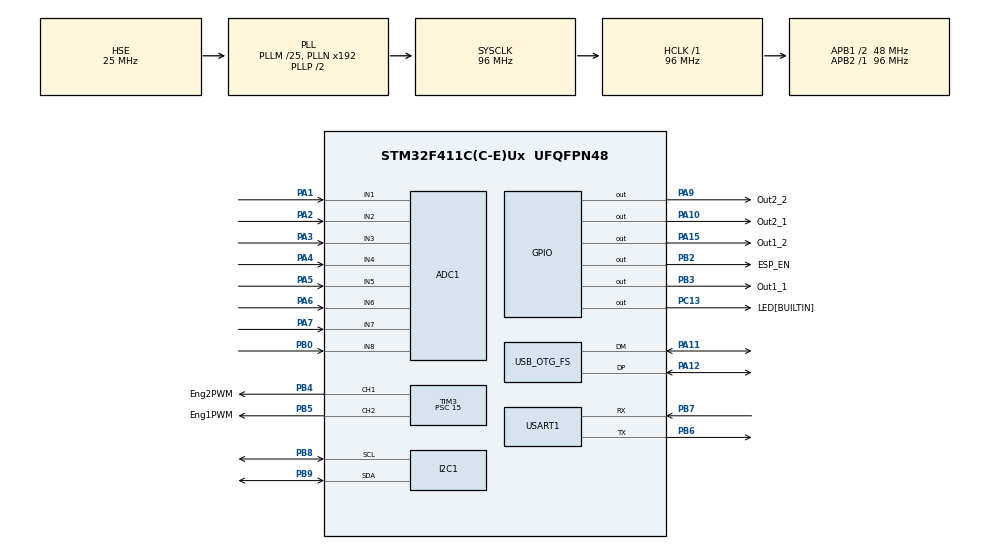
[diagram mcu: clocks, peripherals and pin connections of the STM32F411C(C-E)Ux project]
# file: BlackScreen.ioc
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ADC1.Channel-0\#ChannelRegularConversion=ADC_CHANNEL_1
ADC1.Channel-1\#ChannelRegularConversion=ADC_CHANNEL_2
ADC1.Channel-2\#ChannelRegularConversion=ADC_CHANNEL_3
ADC1.Channel-3\#ChannelRegularConversion=ADC_CHANNEL_4
ADC1.Channel-4\#ChannelRegularConversion=ADC_CHANNEL_5
ADC1.Channel-5\#ChannelRegularConversion=ADC_CHANNEL_6
ADC1.Channel-6\#ChannelRegularConversion=ADC_CHANNEL_7
ADC1.Channel-7\#ChannelRegularConversion=ADC_CHANNEL_8
ADC1.NbrOfConversion=8
ADC1.NbrOfConversionFlag=1
ADC1.Rank-0\#ChannelRegularConversion=1
ADC1.Rank-1\#ChannelRegularConversion=2
ADC1.Rank-2\#ChannelRegularConversion=3
ADC1.Rank-3\#ChannelRegularConversion=4
ADC1.Rank-4\#ChannelRegularConversion=5
ADC1.Rank-5\#ChannelRegularConversion=6
ADC1.Rank-6\#ChannelRegularConversion=7
ADC1.Rank-7\#ChannelRegularConversion=8
ADC1.SamplingTime-0\#ChannelRegularConversion=ADC_SAMPLETIME_56CYCLES
ADC1.SamplingTime-1\#ChannelRegularConversion=ADC_SAMPLETIME_56CYCLES
ADC1.SamplingTime-2\#ChannelRegularConversion=ADC_SAMPLETIME_56CYCLES
ADC1.SamplingTime-3\#ChannelRegularConversion=ADC_SAMPLETIME_56CYCLES
ADC1.SamplingTime-4\#ChannelRegularConversion=ADC_SAMPLETIME_56CYCLES
ADC1.SamplingTime-5\#ChannelRegularConversion=ADC_SAMPLETIME_56CYCLES
ADC1.SamplingTime-6\#ChannelRegularConversion=ADC_SAMPLETIME_56CYCLES
ADC1.SamplingTime-7\#ChannelRegularConversion=ADC_SAMPLETIME_56CYCLES
ADC1.master=1
Dma.ADC1.2.Direction=DMA_PERIPH_TO_MEMORY
Dma.ADC1.2.FIFOMode=DMA_FIFOMODE_DISABLE
Dma.ADC1.2.Instance=DMA2_Stream0
Dma.ADC1.2.MemDataAlignment=DMA_MDATAALIGN_HALFWORD
Dma.ADC1.2.MemInc=DMA_MINC_ENABLE
Dma.ADC1.2.Mode=DMA_NORMAL
Dma.ADC1.2.PeriphDataAlignment=DMA_PDATAALIGN_HALFWORD
Dma.ADC1.2.PeriphInc=DMA_PINC_DISABLE
Dma.ADC1.2.Priority=DMA_PRIORITY_LOW
Dma.I2C1_RX.1.Direction=DMA_PERIPH_TO_MEMORY
Dma.I2C1_RX.1.FIFOMode=DMA_FIFOMODE_DISABLE
Dma.I2C1_RX.1.Instance=DMA1_Stream0
Dma.I2C1_RX.1.MemDataAlignment=DMA_MDATAALIGN_BYTE
Dma.I2C1_RX.1.MemInc=DMA_MINC_ENABLE
Dma.I2C1_RX.1.Mode=DMA_NORMAL
Dma.I2C1_RX.1.PeriphDataAlignment=DMA_PDATAALIGN_BYTE
Dma.I2C1_RX.1.PeriphInc=DMA_PINC_DISABLE
Dma.I2C1_RX.1.Priority=DMA_PRIORITY_LOW
Dma.I2C1_TX.0.Direction=DMA_MEMORY_TO_PERIPH
Dma.I2C1_TX.0.FIFOMode=DMA_FIFOMODE_DISABLE
Dma.I2C1_TX.0.Instance=DMA1_Stream1
Dma.I2C1_TX.0.MemDataAlignment=DMA_MDATAALIGN_BYTE
Dma.I2C1_TX.0.MemInc=DMA_MINC_ENABLE
Dma.I2C1_TX.0.Mode=DMA_NORMAL
Dma.I2C1_TX.0.PeriphDataAlignment=DMA_PDATAALIGN_BYTE
Dma.I2C1_TX.0.PeriphInc=DMA_PINC_DISABLE
Dma.I2C1_TX.0.Priority=DMA_PRIORITY_LOW
Dma.Request0=I2C1_TX
Dma.Request1=I2C1_RX
Dma.Request2=ADC1
I2C1.I2C_Mode=I2C_Fast
Mcu.Family=STM32F4
Mcu.Name=STM32F411C(C-E)Ux
Mcu.Package=UFQFPN48
NVIC.ADC_IRQn=true\:0\:0\:false\:false\:true\:true\:true\:true
NVIC.DMA1_Stream0_IRQn=true\:0\:0\:false\:false\:true\:false\:true\:true
NVIC.DMA1_Stream1_IRQn=true\:0\:0\:false\:false\:true\:false\:true\:true
NVIC.DMA2_Stream0_IRQn=true\:0\:0\:false\:false\:true\:false\:true\:true
NVIC.FPU_IRQn=true\:0\:0\:false\:false\:true\:true\:false\:true
NVIC.I2C1_ER_IRQn=true\:0\:0\:false\:false\:true\:true\:true\:true
NVIC.I2C1_EV_IRQn=true\:0\:0\:false\:false\:true\:true\:true\:true
NVIC.OTG_FS_IRQn=true\:0\:0\:false\:false\:true\:false\:true\:true
NVIC.PriorityGroup=NVIC_PRIORITYGROUP_4
NVIC.TIM1_BRK_TIM9_IRQn=true\:0\:0\:false\:false\:true\:true\:true\:true
NVIC.TIM1_TRG_COM_TIM11_IRQn=true\:0\:0\:false\:false\:true\:true\:true\:true
NVIC.TIM1_UP_TIM10_IRQn=true\:0\:0\:false\:false\:true\:true\:true\:true
NVIC.TIM3_IRQn=true\:0\:0\:false\:false\:true\:true\:true\:true
NVIC.USART1_IRQn=true\:0\:0\:false\:false\:true\:true\:true\:true
PA1.Signal=ADCx_IN1
PA10.GPIO_Label=Out2_1
PA10.Signal=GPIO_Output
PA11.Mode=Device_Only
PA11.Signal=USB_OTG_FS_DM
PA12.Mode=Device_Only
PA12.Signal=USB_OTG_FS_DP
PA13.Mode=Serial_Wire
PA13.Signal=SYS_JTMS-SWDIO
PA14.Mode=Serial_Wire
PA14.Signal=SYS_JTCK-SWCLK
PA15.GPIO_Label=Out1_2
PA15.Signal=GPIO_Output
PA2.Signal=ADCx_IN2
PA3.Signal=ADCx_IN3
PA4.Signal=ADCx_IN4
PA5.Signal=ADCx_IN5
PA6.Signal=ADCx_IN6
PA7.Signal=ADCx_IN7
PA9.GPIO_Label=Out2_2
PA9.Signal=GPIO_Output
PB0.Signal=ADCx_IN8
PB2.GPIO_Label=ESP_EN
PB2.Signal=GPIO_Output
PB3.GPIO_Label=Out1_1
PB3.Signal=GPIO_Output
PB4.GPIO_Label=Eng2PWM
PB4.Signal=S_TIM3_CH1
PB5.GPIO_Label=Eng1PWM
PB5.Signal=S_TIM3_CH2
PB6.Mode=Asynchronous
PB6.Signal=USART1_TX
PB7.Mode=Asynchronous
PB7.Signal=USART1_RX
PB8.Mode=I2C
PB8.Signal=I2C1_SCL
PB9.Mode=I2C
PB9.Signal=I2C1_SDA
PC13-ANTI_TAMP.GPIO_Label=LED[BUILTIN]
PC13-ANTI_TAMP.Signal=GPIO_Output
PC14-OSC32_IN.Mode=LSE-External-Oscillator
PC14-OSC32_IN.Signal=RCC_OSC32_IN
PC15-OSC32_OUT.Mode=LSE-External-Oscillator
PC15-OSC32_OUT.Signal=RCC_OSC32_OUT
PH0\ -\ OSC_IN.Mode=HSE-External-Oscillator
PH0\ -\ OSC_IN.Signal=RCC_OSC_IN
PH1\ -\ OSC_OUT.Mode=HSE-External-Oscillator
PH1\ -\ OSC_OUT.Signal=RCC_OSC_OUT
ProjectManager.HeapSize=0x200
ProjectManager.StackSize=0x400
ProjectManager.TargetToolchain=STM32CubeIDE
RCC.48MHZClocksFreq_Value=48000000
RCC.AHBFreq_Value=96000000
RCC.APB1CLKDivider=RCC_HCLK_DIV2
RCC.APB1Freq_Value=48000000
RCC.APB1TimFreq_Value=96000000
RCC.APB2Freq_Value=96000000
RCC.APB2TimFreq_Value=96000000
RCC.CortexFreq_Value=96000000
RCC.HCLKFreq_Value=96000000
RCC.HSE_VALUE=25000000
RCC.HSI_VALUE=16000000
RCC.PLLM=25
RCC.SYSCLKFreq_VALUE=96000000
RCC.SYSCLKSource=RCC_SYSCLKSOURCE_PLLCLK
RCC.VCOOutputFreq_Value=192000000
SH.ADCx_IN1.0=ADC1_IN1,IN1
SH.ADCx_IN2.0=ADC1_IN2,IN2
SH.ADCx_IN3.0=ADC1_IN3,IN3
SH.ADCx_IN4.0=ADC1_IN4,IN4
SH.ADCx_IN5.0=ADC1_IN5,IN5
SH.ADCx_IN6.0=ADC1_IN6,IN6
SH.ADCx_IN7.0=ADC1_IN7,IN7
SH.ADCx_IN8.0=ADC1_IN8,IN8
SH.S_TIM3_CH1.0=TIM3_CH1,PWM Generation1 CH1
SH.S_TIM3_CH2.0=TIM3_CH2,PWM Generation2 CH2
TIM10.Period=9999
TIM10.Prescaler=47
TIM11.Period=9999
TIM11.Prescaler=95
TIM3.Channel-PWM\ Generation1\ CH1=TIM_CHANNEL_1
TIM3.Channel-PWM\ Generation2\ CH2=TIM_CHANNEL_2
TIM3.OCPolarity_1=TIM_OCPOLARITY_HIGH
TIM3.OCPolarity_2=TIM_OCPOLARITY_HIGH
TIM3.Period=59999
TIM3.Prescaler=15
TIM9.Period=23999
USART1.VirtualMode=VM_ASYNC
USB_DEVICE.APP_RX_DATA_SIZE=512
USB_DEVICE.APP_TX_DATA_SIZE=512
USB_DEVICE.CLASS_NAME_FS=CDC
USB_DEVICE.VirtualMode=Cdc
USB_DEVICE.VirtualModeFS=Cdc_FS
USB_OTG_FS.VirtualMode=Device_Only
VP_TIM10_VS_ClockSourceINT.Mode=Enable_Timer
VP_TIM11_VS_ClockSourceINT.Mode=Enable_Timer
VP_TIM3_VS_ClockSourceINT.Mode=Internal
VP_TIM9_VS_ClockSourceINT.Mode=Internal
VP_USB_DEVICE_VS_USB_DEVICE_CDC_FS.Mode=CDC_FS
board=custom

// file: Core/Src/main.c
/* USER CODE BEGIN Header */
/**
  ******************************************************************************
  * @file           : main.c
  * @brief          : Main program body
  ******************************************************************************
  * @attention
  *
  * Copyright (c) 2025 STMicroelectronics.
  * All rights reserved.
  *
  * This software is licensed under terms that can be found in the LICENSE file
  * in the root directory of this software component.
  * If no LICENSE file comes with this software, it is provided AS-IS.
  *
  ******************************************************************************
  */
/* USER CODE END Header */
#include "main.h"
#include "usb_device.h"

/* USER CODE BEGIN Includes */
#include "UnerProtocol.h"
#include "engines.h"
#include "ssd1306_oled.h"
#include "fonts.h"
#include "Logo.h"
#include "mpu6050.h"
#include "math.h"
#include "Utilities.h"
#include "ADC.h"
#include "ESP01.h"

/* USER CODE END Includes */

/* USER CODE BEGIN PD */

#define NUM_CHANNELS 8
#define RINGBUFFER 	 256
#define SISINIT  	 myFlags.individualFlags.bit0
#define IS10MS 	 	 myFlags.individualFlags.bit1
#define NEWADCVALUES myFlags.individualFlags.bit2

/* USER CODE END PD */

ADC_HandleTypeDef hadc1;
DMA_HandleTypeDef hdma_adc1;

I2C_HandleTypeDef hi2c1;
DMA_HandleTypeDef hdma_i2c1_tx;
DMA_HandleTypeDef hdma_i2c1_rx;

TIM_HandleTypeDef htim3;
TIM_HandleTypeDef htim9;
TIM_HandleTypeDef htim10;
TIM_HandleTypeDef htim11;

UART_HandleTypeDef huart1;

/* USER CODE BEGIN PV */
_sDato datosComSerie;
_bFlags myFlags;
_sEng motorL,motorR;
MPU6050_t mpuValues;
_work casts1;
s_ADC adcValues;
char display[20];

//const uint8_t Index_to_Bar[] = {
//    21, 22, 23, 24, 25, 26, 27, 28, 29,
//    30, 31, 32, 33, 34, 35, 36, 37, 38, 39,
//    40, 41, 42, 43, 44, 45, 46, 47, 48, 49,
//    50, 51, 52, 53, 54, 55, 56, 57, 58, 59
//};
//
//const uint16_t ADC_to_Index[] = {
//  105,  210,  315,  420,  525,  630,  735,  840,  945,
//  1050, 1155, 1260, 1365, 1470, 1575, 1680, 1785, 1890, 1995,
//  2100, 2205, 2310, 2415, 2520, 2625, 2730, 2835, 2940, 3045,
//  3150, 3255, 3360, 3465, 3570, 3675, 3780, 3885, 3990, 4095
//};
struct ESP_DATA{
	_sESP01Handle Config;
	char *ssid;
	char *password;
	char *IP;
	_sDato data;
	uint8_t AT_Rx_data;
	uint8_t bytesToTx;
}ESP;
/* USER CODE END PV */

void SystemClock_Config(void);
static void MX_GPIO_Init(void);
static void MX_DMA_Init(void);
static void MX_TIM3_Init(void);
static void MX_TIM11_Init(void);
static void MX_ADC1_Init(void);
static void MX_I2C1_Init(void);
static void MX_TIM10_Init(void);
static void MX_TIM9_Init(void);
static void MX_USART1_UART_Init(void);
/* USER CODE BEGIN PFP */
// Funciones chota ESP
int ESP01_UART_Transmit(uint8_t val);
void ESP01_Data_Recived(uint8_t value);
void onESP01ChangeState(_eESP01STATUS esp01State);
void onESP01Debug(const char *dbgStr);
void setESP01_CHPD(uint8_t val);
void writeOn_ESP(_sDato *data);

uint8_t CDC_Transmit_FS(uint8_t *buf, uint16_t leng);  // Envia una letra
void CDC_AttachRxData(void (*ptrRxAttach)(uint8_t *buf, uint16_t len));
void HAL_ADC_ConvCpltCallback(ADC_HandleTypeDef* hadc);
void HAL_TIM_PeriodElapsedCallback(TIM_HandleTypeDef *htim);
void task10ms();
void Engines_task();
void SSD1306_Task();
void Get_ADCValues(uint8_t *buf);
uint8_t I2C_RBlocking(uint16_t DevAddress, uint16_t MemAddress, uint16_t MemAddSize, uint8_t *pData, uint16_t Size);
uint8_t I2C_DMA_Recive(uint16_t Dev_Address,uint16_t reg,uint8_t *p_Data, uint16_t _Size);
uint8_t I2C_DMA_Transmit(uint16_t Dev_Address,uint16_t reg,uint8_t *p_Data, uint16_t _Size);
uint8_t I2C_1_Abstract_Master_Transmit_Blocking(uint16_t Dev_Address, uint8_t *p_Data, uint16_t _Size, uint32_t _Timeout);
uint8_t I2C_1_Abstract_Mem_Write_Blocking(uint16_t Dev_Address, uint8_t Mem_Adress, uint8_t Mem_AddSize, uint8_t *p_Data, uint16_t _Size, uint32_t _Timeout);
void I2C_1_Abstract_Mem_Read_Blocking(uint16_t Dev_Address, uint8_t Mem_Adress, uint8_t Mem_AddSize, uint8_t *p_Data, uint16_t _Size, uint32_t _Timeout);
/* USER CODE END PFP */

/* USER CODE BEGIN 0 */
void HAL_ADC_ConvCpltCallback(ADC_HandleTypeDef* hadc){
	adcValues.newValue=1;
}

void HAL_TIM_PeriodElapsedCallback(TIM_HandleTypeDef *htim){
	if (htim->Instance == TIM11) {
		IS10MS = TRUE;
	}

//	if (htim->Instance == TIM10) {
//		MPU6050_Read_All(&mpuValues);
//		mpuValues.DMAREADY=1;
//		SSD1306_DMAREADY(0);
//	}
	if(htim->Instance == TIM9){
		HAL_ADC_Start_DMA(&hadc1, (uint32_t*)&adcValues.raw_Data, 8);
	}
}

//void HAL_I2C_MemTxCpltCallback(I2C_HandleTypeDef *hi2c){
//	if(hi2c->Devaddress==SSD1306_I2C_ADDR){
//		SSD1306_DMAREADY(1);
//	}
//}
//
//void HAL_I2C_MemRxCpltCallback(I2C_HandleTypeDef *hi2c){
//	if(hi2c->Devaddress==MPU6050_ADDR){
//
//	    mpuValues.MAF.rawData[0] = (int16_t) (mpuValues.Rec_Data[0] << 8 | mpuValues.Rec_Data[1]);
//	    mpuValues.MAF.rawData[1] = (int16_t) (mpuValues.Rec_Data[2] << 8 | mpuValues.Rec_Data[3]);
//	    mpuValues.MAF.rawData[2] = (int16_t) (mpuValues.Rec_Data[4] << 8 | mpuValues.Rec_Data[5]);
//	    mpuValues.MAF.rawData[3] = (int16_t) (mpuValues.Rec_Data[8] << 8 | mpuValues.Rec_Data[9]);
//	    mpuValues.MAF.rawData[4] = (int16_t) (mpuValues.Rec_Data[10]<< 8 | mpuValues.Rec_Data[11]);
//	    mpuValues.MAF.rawData[5] = (int16_t) (mpuValues.Rec_Data[12]<< 8 | mpuValues.Rec_Data[13]);
//
//		mpuValues.MAF.isOn=1;
//		SSD1306_DMAREADY(1);
//	}
//}

/* ESP FUNCTION */
void onESP01ChangeState(_eESP01STATUS esp01State) {
   switch (esp01State) {
        case ESP01_NOT_INIT:
            sprintf((char*)datosComSerie.auxBuffer, "ESP01: No inicializado");
            break;
        case ESP01_WIFI_DISCONNECTED:
            sprintf((char*)datosComSerie.auxBuffer, "ESP01: WiFi desconectado");
            break;
        case ESP01_WIFI_NOT_SETED:
            sprintf((char*)datosComSerie.auxBuffer, "ESP01: WiFi no configurado");
            break;
        case ESP01_WIFI_CONNECTING_WIFI:
            sprintf((char*)datosComSerie.auxBuffer, "ESP01: Conectando a WiFi...");
            break;
        case ESP01_WIFI_CONNECTED:
            sprintf((char*)datosComSerie.auxBuffer, "ESP01: WiFi conectado");
            break;
        case ESP01_WIFI_NEW_IP:
            sprintf((char*)datosComSerie.auxBuffer, "ESP01: Nueva IP asignada");
            break;
        case ESP01_UDPTCP_DISCONNECTED:
            sprintf((char*)datosComSerie.auxBuffer, "ESP01: UDP/TCP desconectado");
            break;
        case ESP01_UDPTCP_CONNECTING:
            sprintf((char*)datosComSerie.auxBuffer, "ESP01: Conectando UDP/TCP...");
            break;
        case ESP01_UDPTCP_CONNECTED:
            sprintf((char*)datosComSerie.auxBuffer, "ESP01: UDP/TCP conectado");
            break;
        case ESP01_SEND_BUSY:
            sprintf((char*)datosComSerie.auxBuffer, "ESP01: Enviando datos...");
            break;
        case ESP01_SEND_READY:
            sprintf((char*)datosComSerie.auxBuffer, "ESP01: Listo para enviar");
            break;
        case ESP01_SEND_OK:
            sprintf((char*)datosComSerie.auxBuffer, "ESP01: Envío OK");
            break;
        case ESP01_SEND_ERROR:
            sprintf((char*)datosComSerie.auxBuffer, "ESP01: Error al enviar");
            break;
        default:
            sprintf((char*)datosComSerie.auxBuffer, "ESP01: Estado desconocido");
            break;
    }

    // Cast explícito también aplicado aquí
    UP_sendInfo(TEXT, datosComSerie.auxBuffer,strlen((char*)datosComSerie.auxBuffer));
}

void onESP01Debug(const char *dbgStr) {
    UP_sendInfo(TEXT, (uint8_t *)dbgStr, strlen(dbgStr));
}

void setESP01_CHPD(uint8_t val){
	HAL_GPIO_WritePin(ESP_EN_GPIO_Port, ESP_EN_Pin, val);
}

void HAL_UART_RxCpltCallback(UART_HandleTypeDef *huart){
	if(huart->Instance == USART1){
		ESP01_WriteRX(ESP.AT_Rx_data);
		HAL_UART_Receive_IT(&huart1, &ESP.AT_Rx_data, 1);

	}
}

int ESP01_UART_Transmit(uint8_t val){
	if(__HAL_UART_GET_FLAG(&huart1, UART_FLAG_TXE)){
		USART1->DR = val;
		return 1;
	}
	return 0;
}

void ESP01_Data_Recived(uint8_t value){
	ESP.data.bufferRx[ESP.data.indexWriteRx++] = value;
}

void writeOn_ESP(_sDato *data){
	//comm_sendCMD(&USB.data, USERTEXT, (uint8_t *)"writeONESP", 10);
	if(data->indexWriteTx > data->indexReadTx){
		ESP.bytesToTx = data->indexWriteTx - data->indexReadTx;
	}else{
		ESP.bytesToTx = 256 - data->indexReadTx;
	}
	if(ESP01_Send(data->bufferTx,  data->indexReadTx,  ESP.bytesToTx,  256) == ESP01_SEND_READY){
		data->indexReadTx += ESP.bytesToTx;
		//comm_sendCMD(&USB.data, USERTEXT, (uint8_t*)"dice mandar", 11);
	}
	/*switch(ESP01_Send(data->Tx.buffer,  data->Tx.read,  ESP.bytesToTx,  RINGBUFFLENGTH)){
	case ESP01_NOT_INIT:
		comm_sendCMD(&USB.data, USERTEXT, (uint8_t*)"noinit", 6);
		break;
	case ESP01_UDPTCP_DISCONNECTED:
		comm_sendCMD(&USB.data, USERTEXT, (uint8_t*)"discon", 6);
		break;
	case ESP01_SEND_READY:
		data->Tx.read += ESP.bytesToTx;
		break;
	case ESP01_SEND_BUSY:
		break;
	}*/
}

//void SSD1306_Task(){
//
//	uint32_t guiaBarras;
//
//	if(SISINIT){
//		SSD1306_DrawBitmap(0, 0, MainScreen, 128, 64,WHITE);
//
//		sprintf(display, "X:%c%d",(mpuValues.Accel.X_filtered >= 0) ? '+' : '-',abs(mpuValues.Accel.X_filtered));
//		SSD1306_GotoXY(43, 20);
//		SSD1306_Puts(display, &Font_7x10, BLACK);
//		sprintf(display, "Y:%c%d",(mpuValues.Accel.Y_filtered >= 0) ? '+' : '-',abs(mpuValues.Accel.Y_filtered));
//		SSD1306_GotoXY(43, 35);
//		SSD1306_Puts(display, &Font_7x10, BLACK);
//		sprintf(display, "Z:%c%d",(mpuValues.Accel.Z_filtered >= 0) ? '+' : '-',abs(mpuValues.Accel.Z_filtered));
//		SSD1306_GotoXY(43, 50);
//		SSD1306_Puts(display, &Font_7x10, BLACK);
//		sprintf(display, "X:%c%d ", (mpuValues.Gyro.X_filtered >= 0) ? '+' : '-', abs(mpuValues.Gyro.X_filtered));
//		SSD1306_GotoXY(90, 20);
//		SSD1306_Puts(display, &Font_7x10, BLACK);
//		sprintf(display, "Y:%c%d ", (mpuValues.Gyro.Y_filtered >= 0) ? '+' : '-', abs(mpuValues.Gyro.Y_filtered));
//		SSD1306_GotoXY(90, 35);
//		SSD1306_Puts(display, &Font_7x10, BLACK);
//		sprintf(display, "Z:%c%d ", (mpuValues.Gyro.Z_filtered) ? '+' : '-', abs(mpuValues.Gyro.Z_filtered));
//		SSD1306_GotoXY(90, 50);
//		SSD1306_Puts(display, &Font_7x10, BLACK);
//		for(uint8_t i = 0; i < 9; i++){
//			for(uint8_t j = 0; j < 39; j++){
//				if(adcValues.raw_Data[i] <= ADC_to_Index[j]){
//					guiaBarras = 5 + i * 4;
//					SSD1306_DrawLine(guiaBarras, 59,  guiaBarras, Index_to_Bar[j], BLACK);
//					SSD1306_DrawLine(guiaBarras+1, 59,  guiaBarras+1, Index_to_Bar[j], BLACK);
//					break;
//				}
//			}
//		}
//	}
//}

void task10ms(){

	static uint8_t ticker=0;
//	uint16_t buffaux[8];

	ESP01_Timeout10ms();

	if(ticker%10==0){
		HAL_GPIO_TogglePin(LED_GPIO_Port, LED_Pin);
//		UP_sendInfo(MPUDATA,(uint8_t*)mpuValues.MAF.filtredData, 13);
//
//		for(uint8_t i=0;i<7;i++)
//			buffaux[i]=adcValues.raw_Data[i];
//
//		UP_sendInfo(ADCVALUES,(uint8_t*)&buffaux, 17);
//
//		SSD1306_Task();
//		SSD1306_RefreshReady();
	}
	if(ticker%100==0){

		UP_sendInfo(TEXT, datosComSerie.auxBuffer, strlen((char*)datosComSerie.auxBuffer));
	}
	if(ticker>250){
//		if(!SISINIT){
//			SSD1306_Clear();
//		}
//		SISINIT=TRUE;
		ticker=0;
	}
	ticker++;
}

void Engines_task(){

	en_HandlerENG(&motorR, ret_eng_Values(0), 0);
	en_HandlerENG(&motorL, ret_eng_Values(1), 0);

	switch(motorL.estado){
		case BRAKE:
			HAL_GPIO_WritePin(Out1_1_GPIO_Port, Out1_1_Pin, 1);
			HAL_GPIO_WritePin(Out1_2_GPIO_Port, Out1_2_Pin, 1);
			break;

		case FRONT:
			HAL_GPIO_WritePin(Out1_1_GPIO_Port, Out1_1_Pin, 1);
			HAL_GPIO_WritePin(Out1_2_GPIO_Port, Out1_2_Pin, 0);
			break;

		case BACK:
			HAL_GPIO_WritePin(Out1_1_GPIO_Port, Out1_1_Pin, 0);
			HAL_GPIO_WritePin(Out1_2_GPIO_Port, Out1_2_Pin, 1);
			break;

		case FREE:
			HAL_GPIO_WritePin(Out1_1_GPIO_Port, Out1_1_Pin, 0);
			HAL_GPIO_WritePin(Out1_2_GPIO_Port, Out1_2_Pin, 0);
			break;
		default:
			break;
	}
	switch(motorR.estado){
		case BRAKE:
			HAL_GPIO_WritePin(Out2_1_GPIO_Port, Out2_1_Pin, 1);
			HAL_GPIO_WritePin(Out2_2_GPIO_Port, Out2_2_Pin, 1);
			break;

		case FRONT:
			HAL_GPIO_WritePin(Out2_1_GPIO_Port, Out2_1_Pin, 1);
			HAL_GPIO_WritePin(Out2_2_GPIO_Port, Out2_2_Pin, 0);
			break;

		case BACK:
			HAL_GPIO_WritePin(Out2_1_GPIO_Port, Out2_1_Pin, 0);
			HAL_GPIO_WritePin(Out2_2_GPIO_Port, Out2_2_Pin, 1);
			break;

		case FREE:
			HAL_GPIO_WritePin(Out2_1_GPIO_Port, Out2_1_Pin, 0);
			HAL_GPIO_WritePin(Out2_2_GPIO_Port, Out2_2_Pin, 0);
			break;
		default:
			break;
		}

		__HAL_TIM_SET_COMPARE(&htim3, TIM_CHANNEL_1, motorL.speed);
		__HAL_TIM_SET_COMPARE(&htim3, TIM_CHANNEL_2, motorR.speed);
}

/* USER CODE END 0 */

int main(void)
{

  /* MCU Configuration--------------------------------------------------------*/

  /* Reset of all peripherals, Initializes the Flash interface and the Systick. */
  HAL_Init();

  /* Configure the system clock */
  SystemClock_Config();

  /* Initialize all configured peripherals */
  MX_GPIO_Init();
  MX_DMA_Init();
  MX_USB_DEVICE_Init();
  MX_TIM3_Init();
  MX_TIM11_Init();
  MX_ADC1_Init();
  MX_I2C1_Init();
  MX_TIM10_Init();
  MX_TIM9_Init();
  MX_USART1_UART_Init();
  /* USER CODE BEGIN 2 */
  HAL_TIM_Base_Start_IT(&htim3);
  HAL_TIM_Base_Start_IT(&htim11);
  HAL_TIM_Base_Start_IT(&htim10);
  HAL_TIM_Base_Start_IT(&htim9);

  HAL_TIM_PWM_Start(&htim3, TIM_CHANNEL_2);
  HAL_TIM_PWM_Start(&htim3, TIM_CHANNEL_1);

//  Display_Set_I2C_Master_Transmit(&I2C_DMA_Transmit, &I2C_1_Abstract_Master_Transmit_Blocking);
//  MPU6050_I2C_Blocking(&I2C_RBlocking,&I2C_1_Abstract_Mem_Write_Blocking);
//  MPU6050_NonBlocking_DMA(&I2C_DMA_Transmit,&I2C_DMA_Recive);
//  SSD1306_Init();
//  MPU6050_Init(&mpuValues);
  CDC_AttachRxData(&UP_datafromUSB);
  myFlags.allFlags=0;
  UP_initprotocol(&datosComSerie,(uint8_t)RINGBUFFER);
  en_InitENG(&motorL, (uint16_t)htim3.Instance->ARR);
  en_InitENG(&motorR, (uint16_t)htim3.Instance->ARR);
  UP_attachData(&Get_ADCValues);

//	ESP.password = "fcalconcordia.06-2019";
//	ESP.ssid = "FCAL";
//	ESP.IP = "172.23.206.41";
//	UP_initprotocol(&ESP.data, 255);
//	ESP.data.isESP01 = 1;
//	HAL_UART_Receive_IT(&huart1, &ESP.AT_Rx_data, 1);
//	ESP.Config.DoCHPD = setESP01_CHPD;
//	ESP.Config.WriteUSARTByte = ESP01_UART_Transmit;
//	ESP.Config.WriteByteToBufRX = ESP01_Data_Recived;
//
//	ESP01_Init(&ESP.Config);
//	if(ESP01_StateWIFI() == ESP01_WIFI_DISCONNECTED){
//	  ESP01_SetWIFI(ESP.ssid, ESP.password);
//	}
//
//	ESP01_StartUDP("172.23.206.41", 25555, 11211);
//	ESP01_AttachChangeState(&onESP01ChangeState);
//    ESP01_AttachDebugStr(&onESP01Debug);

//  SSD1306_DrawBitmap(0, 0, LogoMicros, 128, 64, WHITE);
////  MPU6050_Calibrate(&mpuValues);
  /* USER CODE END 2 */

  /* Infinite loop */
  while (1)
  {

    /* USER CODE BEGIN 3 */
	  if(IS10MS){
		 task10ms();
		 IS10MS=FALSE;
		 Engines_task();
	  }
//	MPU6050_MAF(&mpuValues);
	UP_comunicationsTask(&datosComSerie);
	ADC_Filter(&adcValues);
//	SSD1306_UpdateScreen();
  }
  /* USER CODE END 3 */
}

void SystemClock_Config(void)
{
  RCC_OscInitTypeDef RCC_OscInitStruct = {0};
  RCC_ClkInitTypeDef RCC_ClkInitStruct = {0};

  /** Configure the main internal regulator output voltage
  */
  __HAL_RCC_PWR_CLK_ENABLE();
  __HAL_PWR_VOLTAGESCALING_CONFIG(PWR_REGULATOR_VOLTAGE_SCALE1);

  /** Initializes the RCC Oscillators according to the specified parameters
  * in the RCC_OscInitTypeDef structure.
  */
  RCC_OscInitStruct.OscillatorType = RCC_OSCILLATORTYPE_HSE;
  RCC_OscInitStruct.HSEState = RCC_HSE_ON;
  RCC_OscInitStruct.PLL.PLLState = RCC_PLL_ON;
  RCC_OscInitStruct.PLL.PLLSource = RCC_PLLSOURCE_HSE;
  RCC_OscInitStruct.PLL.PLLM = 25;
  RCC_OscInitStruct.PLL.PLLN = 192;
  RCC_OscInitStruct.PLL.PLLP = RCC_PLLP_DIV2;
  RCC_OscInitStruct.PLL.PLLQ = 4;
  if (HAL_RCC_OscConfig(&RCC_OscInitStruct) != HAL_OK)
  {
    Error_Handler();
  }

  /** Initializes the CPU, AHB and APB buses clocks
  */
  RCC_ClkInitStruct.ClockType = RCC_CLOCKTYPE_HCLK|RCC_CLOCKTYPE_SYSCLK
                              |RCC_CLOCKTYPE_PCLK1|RCC_CLOCKTYPE_PCLK2;
  RCC_ClkInitStruct.SYSCLKSource = RCC_SYSCLKSOURCE_PLLCLK;
  RCC_ClkInitStruct.AHBCLKDivider = RCC_SYSCLK_DIV1;
  RCC_ClkInitStruct.APB1CLKDivider = RCC_HCLK_DIV2;
  RCC_ClkInitStruct.APB2CLKDivider = RCC_HCLK_DIV1;

  if (HAL_RCC_ClockConfig(&RCC_ClkInitStruct, FLASH_LATENCY_3) != HAL_OK)
  {
    Error_Handler();
  }
}

static void MX_ADC1_Init(void)
{

  ADC_ChannelConfTypeDef sConfig = {0};

  /** Configure the global features of the ADC (Clock, Resolution, Data Alignment and number of conversion)
  */
  hadc1.Instance = ADC1;
  hadc1.Init.ClockPrescaler = ADC_CLOCK_SYNC_PCLK_DIV4;
  hadc1.Init.Resolution = ADC_RESOLUTION_12B;
  hadc1.Init.ScanConvMode = ENABLE;
  hadc1.Init.ContinuousConvMode = DISABLE;
  hadc1.Init.DiscontinuousConvMode = DISABLE;
  hadc1.Init.ExternalTrigConvEdge = ADC_EXTERNALTRIGCONVEDGE_NONE;
  hadc1.Init.ExternalTrigConv = ADC_SOFTWARE_START;
  hadc1.Init.DataAlign = ADC_DATAALIGN_RIGHT;
  hadc1.Init.NbrOfConversion = 8;
  hadc1.Init.DMAContinuousRequests = DISABLE;
  hadc1.Init.EOCSelection = ADC_EOC_SINGLE_CONV;
  if (HAL_ADC_Init(&hadc1) != HAL_OK)
  {
    Error_Handler();
  }

  /** Configure for the selected ADC regular channel its corresponding rank in the sequencer and its sample time.
  */
  sConfig.Channel = ADC_CHANNEL_1;
  sConfig.Rank = 1;
  sConfig.SamplingTime = ADC_SAMPLETIME_56CYCLES;
  if (HAL_ADC_ConfigChannel(&hadc1, &sConfig) != HAL_OK)
  {
    Error_Handler();
  }

  /** Configure for the selected ADC regular channel its corresponding rank in the sequencer and its sample time.
  */
  sConfig.Channel = ADC_CHANNEL_2;
  sConfig.Rank = 2;
  if (HAL_ADC_ConfigChannel(&hadc1, &sConfig) != HAL_OK)
  {
    Error_Handler();
  }

  /** Configure for the selected ADC regular channel its corresponding rank in the sequencer and its sample time.
  */
  sConfig.Channel = ADC_CHANNEL_3;
  sConfig.Rank = 3;
  if (HAL_ADC_ConfigChannel(&hadc1, &sConfig) != HAL_OK)
  {
    Error_Handler();
  }

  /** Configure for the selected ADC regular channel its corresponding rank in the sequencer and its sample time.
  */
  sConfig.Channel = ADC_CHANNEL_4;
  sConfig.Rank = 4;
  if (HAL_ADC_ConfigChannel(&hadc1, &sConfig) != HAL_OK)
  {
    Error_Handler();
  }

  /** Configure for the selected ADC regular channel its corresponding rank in the sequencer and its sample time.
  */
  sConfig.Channel = ADC_CHANNEL_5;
  sConfig.Rank = 5;
  if (HAL_ADC_ConfigChannel(&hadc1, &sConfig) != HAL_OK)
  {
    Error_Handler();
  }

  /** Configure for the selected ADC regular channel its corresponding rank in the sequencer and its sample time.
  */
  sConfig.Channel = ADC_CHANNEL_6;
  sConfig.Rank = 6;
  if (HAL_ADC_ConfigChannel(&hadc1, &sConfig) != HAL_OK)
  {
    Error_Handler();
  }

  /** Configure for the selected ADC regular channel its corresponding rank in the sequencer and its sample time.
  */
  sConfig.Channel = ADC_CHANNEL_7;
  sConfig.Rank = 7;
  if (HAL_ADC_ConfigChannel(&hadc1, &sConfig) != HAL_OK)
  {
    Error_Handler();
  }

  /** Configure for the selected ADC regular channel its corresponding rank in the sequencer and its sample time.
  */
  sConfig.Channel = ADC_CHANNEL_8;
  sConfig.Rank = 8;
  if (HAL_ADC_ConfigChannel(&hadc1, &sConfig) != HAL_OK)
  {
    Error_Handler();
  }

}

static void MX_I2C1_Init(void)
{

  hi2c1.Instance = I2C1;
  hi2c1.Init.ClockSpeed = 400000;
  hi2c1.Init.DutyCycle = I2C_DUTYCYCLE_2;
  hi2c1.Init.OwnAddress1 = 0;
  hi2c1.Init.AddressingMode = I2C_ADDRESSINGMODE_7BIT;
  hi2c1.Init.DualAddressMode = I2C_DUALADDRESS_DISABLE;
  hi2c1.Init.OwnAddress2 = 0;
  hi2c1.Init.GeneralCallMode = I2C_GENERALCALL_DISABLE;
  hi2c1.Init.NoStretchMode = I2C_NOSTRETCH_DISABLE;
  if (HAL_I2C_Init(&hi2c1) != HAL_OK)
  {
    Error_Handler();
  }

}

static void MX_TIM3_Init(void)
{

  TIM_ClockConfigTypeDef sClockSourceConfig = {0};
  TIM_MasterConfigTypeDef sMasterConfig = {0};
  TIM_OC_InitTypeDef sConfigOC = {0};

  htim3.Instance = TIM3;
  htim3.Init.Prescaler = 15;
  htim3.Init.CounterMode = TIM_COUNTERMODE_UP;
  htim3.Init.Period = 59999;
  htim3.Init.ClockDivision = TIM_CLOCKDIVISION_DIV1;
  htim3.Init.AutoReloadPreload = TIM_AUTORELOAD_PRELOAD_DISABLE;
  if (HAL_TIM_Base_Init(&htim3) != HAL_OK)
  {
    Error_Handler();
  }
  sClockSourceConfig.ClockSource = TIM_CLOCKSOURCE_INTERNAL;
  if (HAL_TIM_ConfigClockSource(&htim3, &sClockSourceConfig) != HAL_OK)
  {
    Error_Handler();
  }
  if (HAL_TIM_PWM_Init(&htim3) != HAL_OK)
  {
    Error_Handler();
  }
  sMasterConfig.MasterOutputTrigger = TIM_TRGO_RESET;
  sMasterConfig.MasterSlaveMode = TIM_MASTERSLAVEMODE_DISABLE;
  if (HAL_TIMEx_MasterConfigSynchronization(&htim3, &sMasterConfig) != HAL_OK)
  {
    Error_Handler();
  }
  sConfigOC.OCMode = TIM_OCMODE_PWM1;
  sConfigOC.Pulse = 0;
  sConfigOC.OCPolarity = TIM_OCPOLARITY_HIGH;
  sConfigOC.OCFastMode = TIM_OCFAST_DISABLE;
  if (HAL_TIM_PWM_ConfigChannel(&htim3, &sConfigOC, TIM_CHANNEL_1) != HAL_OK)
  {
    Error_Handler();
  }
  if (HAL_TIM_PWM_ConfigChannel(&htim3, &sConfigOC, TIM_CHANNEL_2) != HAL_OK)
  {
    Error_Handler();
  }
  HAL_TIM_MspPostInit(&htim3);

}

static void MX_TIM9_Init(void)
{

  TIM_ClockConfigTypeDef sClockSourceConfig = {0};

  htim9.Instance = TIM9;
  htim9.Init.Prescaler = 0;
  htim9.Init.CounterMode = TIM_COUNTERMODE_UP;
  htim9.Init.Period = 23999;
  htim9.Init.ClockDivision = TIM_CLOCKDIVISION_DIV1;
  htim9.Init.AutoReloadPreload = TIM_AUTORELOAD_PRELOAD_DISABLE;
  if (HAL_TIM_Base_Init(&htim9) != HAL_OK)
  {
    Error_Handler();
  }
  sClockSourceConfig.ClockSource = TIM_CLOCKSOURCE_INTERNAL;
  if (HAL_TIM_ConfigClockSource(&htim9, &sClockSourceConfig) != HAL_OK)
  {
    Error_Handler();
  }

}

static void MX_TIM10_Init(void)
{

  htim10.Instance = TIM10;
  htim10.Init.Prescaler = 47;
  htim10.Init.CounterMode = TIM_COUNTERMODE_UP;
  htim10.Init.Period = 9999;
  htim10.Init.ClockDivision = TIM_CLOCKDIVISION_DIV1;
  htim10.Init.AutoReloadPreload = TIM_AUTORELOAD_PRELOAD_DISABLE;
  if (HAL_TIM_Base_Init(&htim10) != HAL_OK)
  {
    Error_Handler();
  }

}

static void MX_TIM11_Init(void)
{

  htim11.Instance = TIM11;
  htim11.Init.Prescaler = 95;
  htim11.Init.CounterMode = TIM_COUNTERMODE_UP;
  htim11.Init.Period = 9999;
  htim11.Init.ClockDivision = TIM_CLOCKDIVISION_DIV1;
  htim11.Init.AutoReloadPreload = TIM_AUTORELOAD_PRELOAD_DISABLE;
  if (HAL_TIM_Base_Init(&htim11) != HAL_OK)
  {
    Error_Handler();
  }

}

static void MX_USART1_UART_Init(void)
{

  huart1.Instance = USART1;
  huart1.Init.BaudRate = 115200;
  huart1.Init.WordLength = UART_WORDLENGTH_8B;
  huart1.Init.StopBits = UART_STOPBITS_1;
  huart1.Init.Parity = UART_PARITY_NONE;
  huart1.Init.Mode = UART_MODE_TX_RX;
  huart1.Init.HwFlowCtl = UART_HWCONTROL_NONE;
  huart1.Init.OverSampling = UART_OVERSAMPLING_16;
  if (HAL_UART_Init(&huart1) != HAL_OK)
  {
    Error_Handler();
  }

}

static void MX_DMA_Init(void)
{

  /* DMA controller clock enable */
  __HAL_RCC_DMA1_CLK_ENABLE();
  __HAL_RCC_DMA2_CLK_ENABLE();

  /* DMA interrupt init */
  /* DMA1_Stream0_IRQn interrupt configuration */
  HAL_NVIC_SetPriority(DMA1_Stream0_IRQn, 0, 0);
  HAL_NVIC_EnableIRQ(DMA1_Stream0_IRQn);
  /* DMA1_Stream1_IRQn interrupt configuration */
  HAL_NVIC_SetPriority(DMA1_Stream1_IRQn, 0, 0);
  HAL_NVIC_EnableIRQ(DMA1_Stream1_IRQn);
  /* DMA2_Stream0_IRQn interrupt configuration */
  HAL_NVIC_SetPriority(DMA2_Stream0_IRQn, 0, 0);
  HAL_NVIC_EnableIRQ(DMA2_Stream0_IRQn);

}

static void MX_GPIO_Init(void)
{
  GPIO_InitTypeDef GPIO_InitStruct = {0};

  /* GPIO Ports Clock Enable */
  __HAL_RCC_GPIOC_CLK_ENABLE();
  __HAL_RCC_GPIOH_CLK_ENABLE();
  __HAL_RCC_GPIOA_CLK_ENABLE();
  __HAL_RCC_GPIOB_CLK_ENABLE();

  /*Configure GPIO pin Output Level */
  HAL_GPIO_WritePin(LED_GPIO_Port, LED_Pin, GPIO_PIN_RESET);

  /*Configure GPIO pin Output Level */
  HAL_GPIO_WritePin(GPIOB, ESP_EN_Pin|Out1_1_Pin, GPIO_PIN_RESET);

  /*Configure GPIO pin Output Level */
  HAL_GPIO_WritePin(GPIOA, Out2_2_Pin|Out2_1_Pin|Out1_2_Pin, GPIO_PIN_RESET);

  /*Configure GPIO pin : LED_Pin */
  GPIO_InitStruct.Pin = LED_Pin;
  GPIO_InitStruct.Mode = GPIO_MODE_OUTPUT_PP;
  GPIO_InitStruct.Pull = GPIO_NOPULL;
  GPIO_InitStruct.Speed = GPIO_SPEED_FREQ_LOW;
  HAL_GPIO_Init(LED_GPIO_Port, &GPIO_InitStruct);

  /*Configure GPIO pins : ESP_EN_Pin Out1_1_Pin */
  GPIO_InitStruct.Pin = ESP_EN_Pin|Out1_1_Pin;
  GPIO_InitStruct.Mode = GPIO_MODE_OUTPUT_PP;
  GPIO_InitStruct.Pull = GPIO_NOPULL;
  GPIO_InitStruct.Speed = GPIO_SPEED_FREQ_LOW;
  HAL_GPIO_Init(GPIOB, &GPIO_InitStruct);

  /*Configure GPIO pins : Out2_2_Pin Out2_1_Pin Out1_2_Pin */
  GPIO_InitStruct.Pin = Out2_2_Pin|Out2_1_Pin|Out1_2_Pin;
  GPIO_InitStruct.Mode = GPIO_MODE_OUTPUT_PP;
  GPIO_InitStruct.Pull = GPIO_NOPULL;
  GPIO_InitStruct.Speed = GPIO_SPEED_FREQ_LOW;
  HAL_GPIO_Init(GPIOA, &GPIO_InitStruct);

}

/* USER CODE BEGIN 4 */
void UP_comunicationsTask(_sDato *datosCom){

	if(datosCom->indexReadRx!=datosCom->indexWriteRx ){
		UP_decodeHeader(datosCom);
		datosCom->indexReadRx=datosCom->indexWriteRx;
	}

	if(datosCom->indexReadTx!=datosCom->indexWriteTx ){

		if(datosCom->indexWriteTx > datosCom->indexReadTx){
				datosCom->bytesTosend = datosCom->indexWriteTx - datosCom->indexReadTx;
		    }else{
		    	datosCom->bytesTosend =  sizeof(datosCom->bufferRx) - datosCom->indexReadTx;
		    }
		    if(CDC_Transmit_FS(&datosCom->bufferTx[datosCom->indexReadTx], datosCom->bytesTosend) == USBD_OK){
		    	datosCom->indexReadTx += datosCom->bytesTosend;
		    }
	}
}

uint8_t I2C_DMA_Transmit(uint16_t Dev_Address,uint16_t reg,uint8_t *p_Data, uint16_t _Size){

	HAL_I2C_Mem_Write_DMA(&hi2c1, Dev_Address, reg, 1, p_Data, _Size);
	return 1;
}

uint8_t I2C_1_Abstract_Master_Transmit_Blocking(uint16_t Dev_Address, uint8_t *p_Data, uint16_t _Size, uint32_t _Timeout){
	return (uint8_t)HAL_I2C_Master_Transmit(&hi2c1, Dev_Address, p_Data, _Size, _Timeout);
}

uint8_t I2C_1_Abstract_Mem_Write_Blocking(uint16_t Dev_Address, uint8_t Mem_Adress, uint8_t Mem_AddSize, uint8_t *p_Data, uint16_t _Size, uint32_t _Timeout){
	return (uint8_t)HAL_I2C_Mem_Write(&hi2c1, Dev_Address, Mem_Adress, Mem_AddSize, p_Data, _Size, _Timeout);
}

uint8_t I2C_DMA_Recive(uint16_t Dev_Address,uint16_t reg,uint8_t *p_Data, uint16_t _Size){
	HAL_I2C_Mem_Read_DMA(&hi2c1, Dev_Address, reg, 1, p_Data, _Size);
	return 1;
}

uint8_t I2C_RBlocking(uint16_t DevAddress, uint16_t MemAddress, uint16_t MemAddSize, uint8_t *pData, uint16_t Size){

	HAL_I2C_Mem_Read(&hi2c1, DevAddress, MemAddress, MemAddSize, pData, Size,1000);
	return 1;

}

void Get_ADCValues(uint8_t *buf){

	uint8_t j=0;

	for(uint8_t i=0;i<7;i++){
		casts1.i16[0]=adcValues.filteredData[i];
		buf[j*2]=casts1.u8[0];
		buf[1+j*2]=casts1.u8[1];
		j++;
	}

}
//void I2C_1_Abstract_Mem_Read_Blocking(uint16_t Dev_Address, uint8_t Mem_Adress, uint8_t Mem_AddSize, uint8_t *p_Data, uint16_t _Size, uint32_t _Timeout){
//	HAL_I2C_Mem_Read(&hi2c1, Dev_Address, Mem_Adress, Mem_AddSize, p_Data, _Size, _Timeout);
//}

/* USER CODE END 4 */

void Error_Handler(void)
{
  __disable_irq();
  while (1)
  {
  }
}
